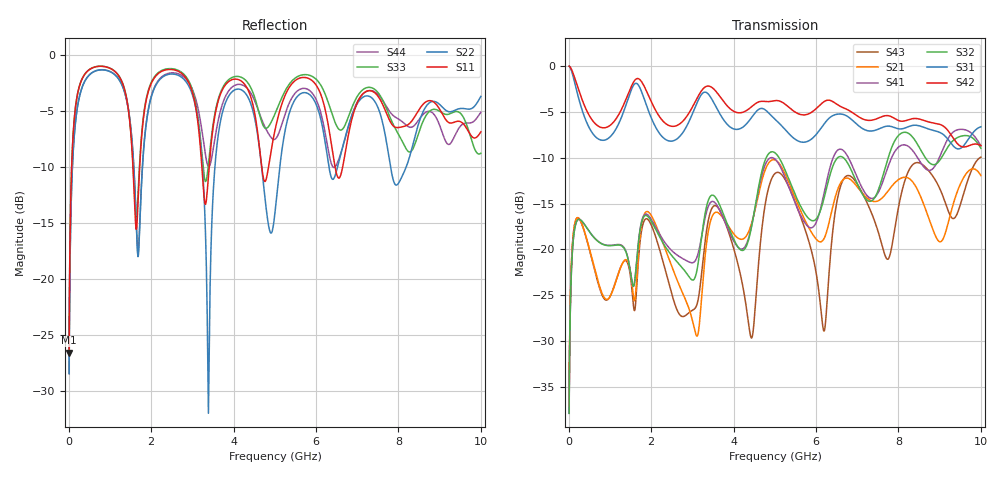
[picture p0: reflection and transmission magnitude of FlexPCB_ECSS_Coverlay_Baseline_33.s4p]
! TOUCHSTONE file generated by CST MICROWAVE STUDIO
! Date and time: Sun Jul  5 19:09:53 2026
! Project name: FlexPCB_ECSS_Coverlay_Baseline.cst
! Parameters = {Gap=1.2; GroundW=9.4; Hadh=0.025; Hcov=0.025; Hsub=0.1; L=50; Tcu=0.035; W=0.22}
! Header version: 2024
! Port assignment regex: !\s*Touchstone port\s*([0-9]+)\s*=\s*(CST MWS port|CST DES external port|CST DES block port)\s*(.+)\s* \(\"(.*)\"\)(\s*mode\s*([0-9]+))?.*
! Touchstone port assignment:
! Touchstone port 1 = CST MWS port 1 ("")
! Touchstone port 2 = CST MWS port 2 ("")
! Touchstone port 3 = CST MWS port 3 ("")
! Touchstone port 4 = CST MWS port 4 ("")
# GHz S MA R 50
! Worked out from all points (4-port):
!   1002 points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, 10 MHz to 10 GHz, reference 50 ohm
!   strongest paths, dB at 10 MHz, 2.51 GHz, 5.01 GHz, 7.503 GHz, 10 GHz:
!     S42: 0.0, -6.6, -3.8, -5.7, -8.7
!     S31: 0.0, -8.2, -5.8, -6.9, -6.6
!     S32: -37.9, -20.7, -9.5, -13.6, -9.0
!     S41: -37.9, -20.2, -10.2, -13.9, -8.7
!     S21: -37.1, -22.0, -10.3, -14.7, -11.9
!     S43: -37.1, -25.0, -11.7, -18.0, -9.9
!   lowest |S11| = -26.6 dB at 10 MHz (marker M1), VSWR 1.10, Z = 49.6 - j4.66 ohm
!   |S11| at or under -10 dB: 1.559 GHz to 1.722 GHz (163.1 MHz wide, 9.94 % of centre); 3.23 GHz to 3.407 GHz (176.8 MHz wide, 5.33 % of centre); 6.461 GHz to 6.648 GHz (187.3 MHz wide, 2.86 % of centre)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
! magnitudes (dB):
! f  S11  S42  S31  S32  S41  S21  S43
! 10 MHz  -26.6  0.0  0.0  -37.9  -37.9  -37.1  -37.1
! 620 MHz  -1.1  -6.2  -7.6  -18.7  -18.7  -22.0  -22.1
! 1.68 GHz  -13.3  -1.4  -2.0  -19.8  -19.7  -21.2  -21.9
! 2.94 GHz  -2.7  -5.0  -5.8  -23.1  -21.4  -26.8  -26.8
! 3.39 GHz  -10.8  -2.2  -3.1  -14.6  -15.3  -18.0  -16.8
! 3.98 GHz  -2.2  -4.9  -6.8  -18.7  -18.9  -18.2  -19.6
! 10 GHz  -6.9  -8.7  -6.6  -9.0  -8.7  -11.9  -9.9
